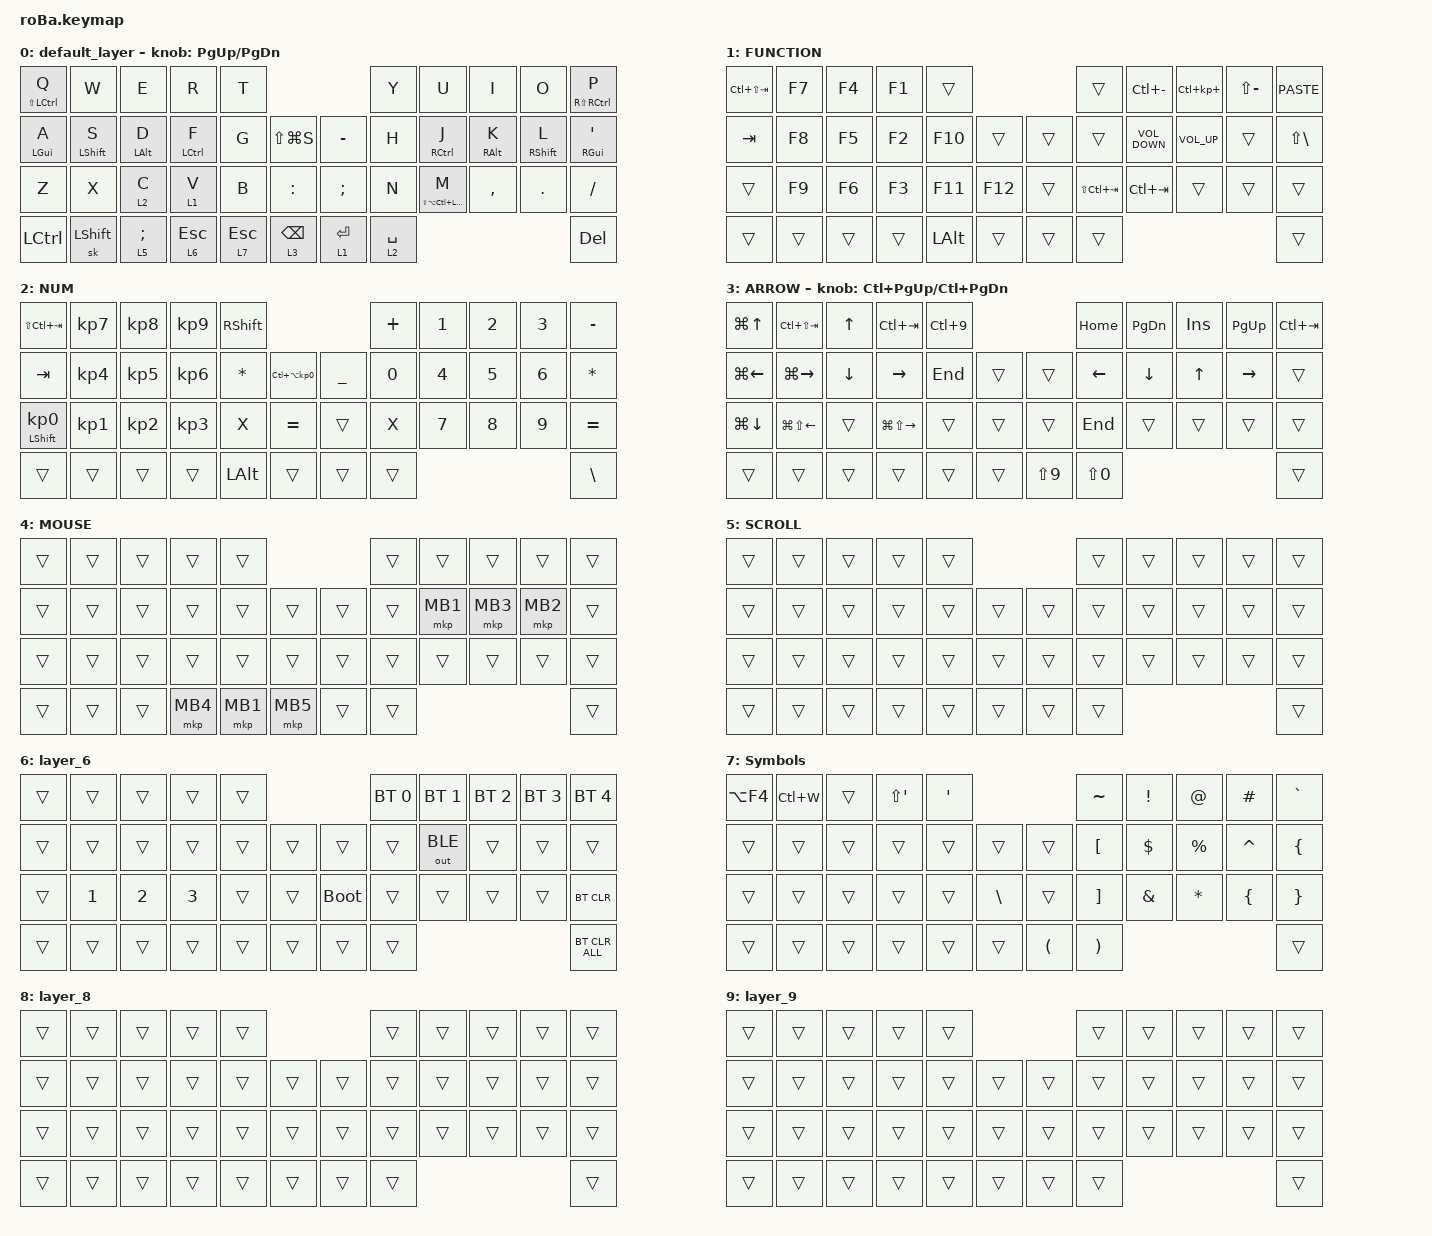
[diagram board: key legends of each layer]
#include <behaviors.dtsi>
#include <dt-bindings/zmk/bt.h>
#include <dt-bindings/zmk/keys.h>
#include <dt-bindings/zmk/outputs.h>
#include <dt-bindings/zmk/pointing.h>

&mt {
    flavor = "balanced";
    quick-tap-ms = <0>;
};

&trackball {
    automouse-layer = <4>;
    scroll-layers = <5>;

    // arrows {
    //     layers = <3>;
    //     bindings =
    //         <&kp RIGHT_ARROW>,
    //         <&kp LEFT_ARROW>,
    //         <&kp UP_ARROW>,
    //         <&kp DOWN_ARROW>;
    //     tick = <10>;
    //     wait-ms = <5>;
    //     tap-ms = <5>;
    // };
};

/ {
    combos {
        compatible = "zmk,combos";

        tab {
            bindings = <&kp TAB>;
            key-positions = <11 12>;
        };

        shift_tab {
            bindings = <&kp LS(TAB)>;
            key-positions = <12 13>;
        };

        muhennkann {
            bindings = <&to_layer_0 INT_MUHENKAN>;
            key-positions = <11 10>;
        };

        double_quotation {
            bindings = <&kp DOUBLE_QUOTES>;
            key-positions = <20 21>;
        };

        eq {
            bindings = <&kp EQUAL>;
            key-positions = <24 25>;
        };
    };

    macros {
        to_layer_0: to_layer_0 {
            compatible = "zmk,behavior-macro-one-param";
            #binding-cells = <1>;
            bindings = <&to 0 &macro_param_1to1 &kp MACRO_PLACEHOLDER>;
            label = "TO_LAYER_0";
        };
    };

    behaviors {
        lt_to_layer_0: lt_to_layer_0 {
            compatible = "zmk,behavior-hold-tap";
            label = "LAYER_TAP_TO_0";
            bindings = <&mo>, <&to_layer_0>;

            #binding-cells = <2>;
            tapping-term-ms = <200>;
        };
    };

    keymap {
        compatible = "zmk,keymap";

        default_layer {
            bindings = <
&mt LS(LCTRL) Q  &kp W             &kp E           &kp R                 &kp T                                          &kp Y        &kp U                       &kp I            &kp O              &mt RS(RCTRL) P
&mt LEFT_GUI A   &mt LEFT_SHIFT S  &mt LEFT_ALT D  &mt LCTRL F           &kp G      &kp LS(LG(S))        &kp MINUS      &kp H        &mt RCTRL J                 &mt RIGHT_ALT K  &mt RIGHT_SHIFT L  &mt RIGHT_GUI SQT
&kp Z            &kp X             &lt 2 C         &lt 1 V               &kp B      &kp COLON            &kp SEMICOLON  &kp N        &mt LS(LA(LC(LEFT_GUI))) M  &kp COMMA        &kp DOT            &kp SLASH
&kp LCTRL        &sk LEFT_SHIFT    &lt 5 SEMI      &lt_to_layer_0 6 ESC  &lt 7 ESC  &lt 3 BACKSPACE      &lt 1 RET      &lt 2 SPACE                                                                  &kp DEL
            >;

            sensor-bindings = <&inc_dec_kp PG_UP PAGE_DOWN>;
        };

        FUNCTION {
            bindings = <
&kp LC(LS(TAB))  &kp F7  &kp F4  &kp F1  &trans                             &trans           &kp LC(MINUS)      &kp LC(KP_PLUS)  &kp LS(MINUS)  &kp K_PASTE
&kp TAB          &kp F8  &kp F5  &kp F2  &kp F10       &trans       &trans  &trans           &kp C_VOLUME_DOWN  &kp C_VOLUME_UP  &trans         &kp LS(BACKSLASH)
&trans           &kp F9  &kp F6  &kp F3  &kp F11       &kp F12      &trans  &kp LS(LC(TAB))  &kp LC(TAB)        &trans           &trans         &trans
&trans           &trans  &trans  &trans  &kp LEFT_ALT  &trans       &trans  &trans                                                              &trans
            >;
        };

        NUM {
            bindings = <
&kp LS(LC(TAB))             &kp KP_NUMBER_7  &kp KP_NUMBER_8  &kp KP_NUMBER_9  &kp RIGHT_SHIFT                                               &kp PLUS  &kp N1  &kp N2  &kp N3  &kp MINUS
&kp TAB                     &kp KP_NUMBER_4  &kp KP_NUMBER_5  &kp KP_NUMBER_6  &kp ASTERISK     &kp LC(LA(KP_NUMBER_0))      &kp UNDERSCORE  &kp N0    &kp N4  &kp N5  &kp N6  &kp ASTERISK
&mt LEFT_SHIFT KP_NUMBER_0  &kp KP_NUMBER_1  &kp KP_NUMBER_2  &kp KP_NUMBER_3  &kp X            &kp EQUAL                    &trans          &kp X     &kp N7  &kp N8  &kp N9  &kp EQUAL
&trans                      &trans           &trans           &trans           &kp LALT         &trans                       &trans          &trans                            &kp BACKSLASH
            >;
        };

        ARROW {
            bindings = <
&kp LG(UP_ARROW)    &kp LC(LS(TAB))         &kp UP_ARROW    &kp LC(TAB)              &kp LC(NUMBER_9)                                &kp HOME          &kp PAGE_DOWN  &kp INSERT  &kp PAGE_UP  &kp LC(TAB)
&kp LG(LEFT_ARROW)  &kp LG(RIGHT_ARROW)     &kp DOWN_ARROW  &kp RIGHT_ARROW          &kp END           &trans      &trans            &kp LEFT          &kp DOWN       &kp UP      &kp RIGHT    &trans
&kp LG(DOWN_ARROW)  &kp LG(LS(LEFT_ARROW))  &trans          &kp LG(LS(RIGHT_ARROW))  &trans            &trans      &trans            &kp END           &trans         &trans      &trans       &trans
&trans              &trans                  &trans          &trans                   &trans            &trans      &kp LS(NUMBER_9)  &kp LS(NUMBER_0)                                          &trans
            >;

            sensor-bindings = <&inc_dec_kp LC(PAGE_UP) LC(PAGE_DOWN)>;
        };

        MOUSE {
            bindings = <
&trans  &trans  &trans  &trans    &trans                          &trans  &trans    &trans    &trans    &trans
&trans  &trans  &trans  &trans    &trans    &trans        &trans  &trans  &mkp MB1  &mkp MB3  &mkp MB2  &trans
&trans  &trans  &trans  &trans    &trans    &trans        &trans  &trans  &trans    &trans    &trans    &trans
&trans  &trans  &trans  &mkp MB4  &mkp MB1  &mkp MB5      &trans  &trans                                &trans
            >;
        };

        SCROLL {
            bindings = <
&trans  &trans  &trans  &trans  &trans                      &trans  &trans  &trans  &trans  &trans
&trans  &trans  &trans  &trans  &trans  &trans      &trans  &trans  &trans  &trans  &trans  &trans
&trans  &trans  &trans  &trans  &trans  &trans      &trans  &trans  &trans  &trans  &trans  &trans
&trans  &trans  &trans  &trans  &trans  &trans      &trans  &trans                          &trans
            >;
        };

        layer_6 {
            bindings = <
&trans  &trans        &trans        &trans        &trans                           &bt BT_SEL 0  &bt BT_SEL 1  &bt BT_SEL 2  &bt BT_SEL 3  &bt BT_SEL 4
&trans  &trans        &trans        &trans        &trans  &trans      &trans       &trans        &out OUT_BLE  &trans        &trans        &trans
&trans  &kp NUMBER_1  &kp NUMBER_2  &kp NUMBER_3  &trans  &trans      &bootloader  &trans        &trans        &trans        &trans        &bt BT_CLR
&trans  &trans        &trans        &trans        &trans  &trans      &trans       &trans                                                  &bt BT_CLR_ALL
            >;
        };

        Symbols {
            bindings = <
&kp LA(F4)  &kp LC(W)  &trans  &kp LS(SINGLE_QUOTE)  &kp SINGLE_QUOTE                                           &kp TILDE              &kp EXCLAMATION  &kp AT_SIGN  &kp HASH        &kp GRAVE
&trans      &trans     &trans  &trans                &trans            &trans             &trans                &kp LEFT_BRACKET       &kp DOLLAR       &kp PERCENT  &kp CARET       &kp LEFT_BRACE
&trans      &trans     &trans  &trans                &trans            &kp BACKSLASH      &trans                &kp RIGHT_BRACKET      &kp AMPERSAND    &kp ASTRK    &kp LEFT_BRACE  &kp RIGHT_BRACE
&trans      &trans     &trans  &trans                &trans            &trans             &kp LEFT_PARENTHESIS  &kp RIGHT_PARENTHESIS                                                &trans
            >;
        };

        layer_8 {
            bindings = <
&trans  &trans  &trans  &trans  &trans                      &trans  &trans  &trans  &trans  &trans
&trans  &trans  &trans  &trans  &trans  &trans      &trans  &trans  &trans  &trans  &trans  &trans
&trans  &trans  &trans  &trans  &trans  &trans      &trans  &trans  &trans  &trans  &trans  &trans
&trans  &trans  &trans  &trans  &trans  &trans      &trans  &trans                          &trans
            >;
        };

        layer_9 {
            bindings = <
&trans  &trans  &trans  &trans  &trans                      &trans  &trans  &trans  &trans  &trans
&trans  &trans  &trans  &trans  &trans  &trans      &trans  &trans  &trans  &trans  &trans  &trans
&trans  &trans  &trans  &trans  &trans  &trans      &trans  &trans  &trans  &trans  &trans  &trans
&trans  &trans  &trans  &trans  &trans  &trans      &trans  &trans                          &trans
            >;
        };
    };
};
